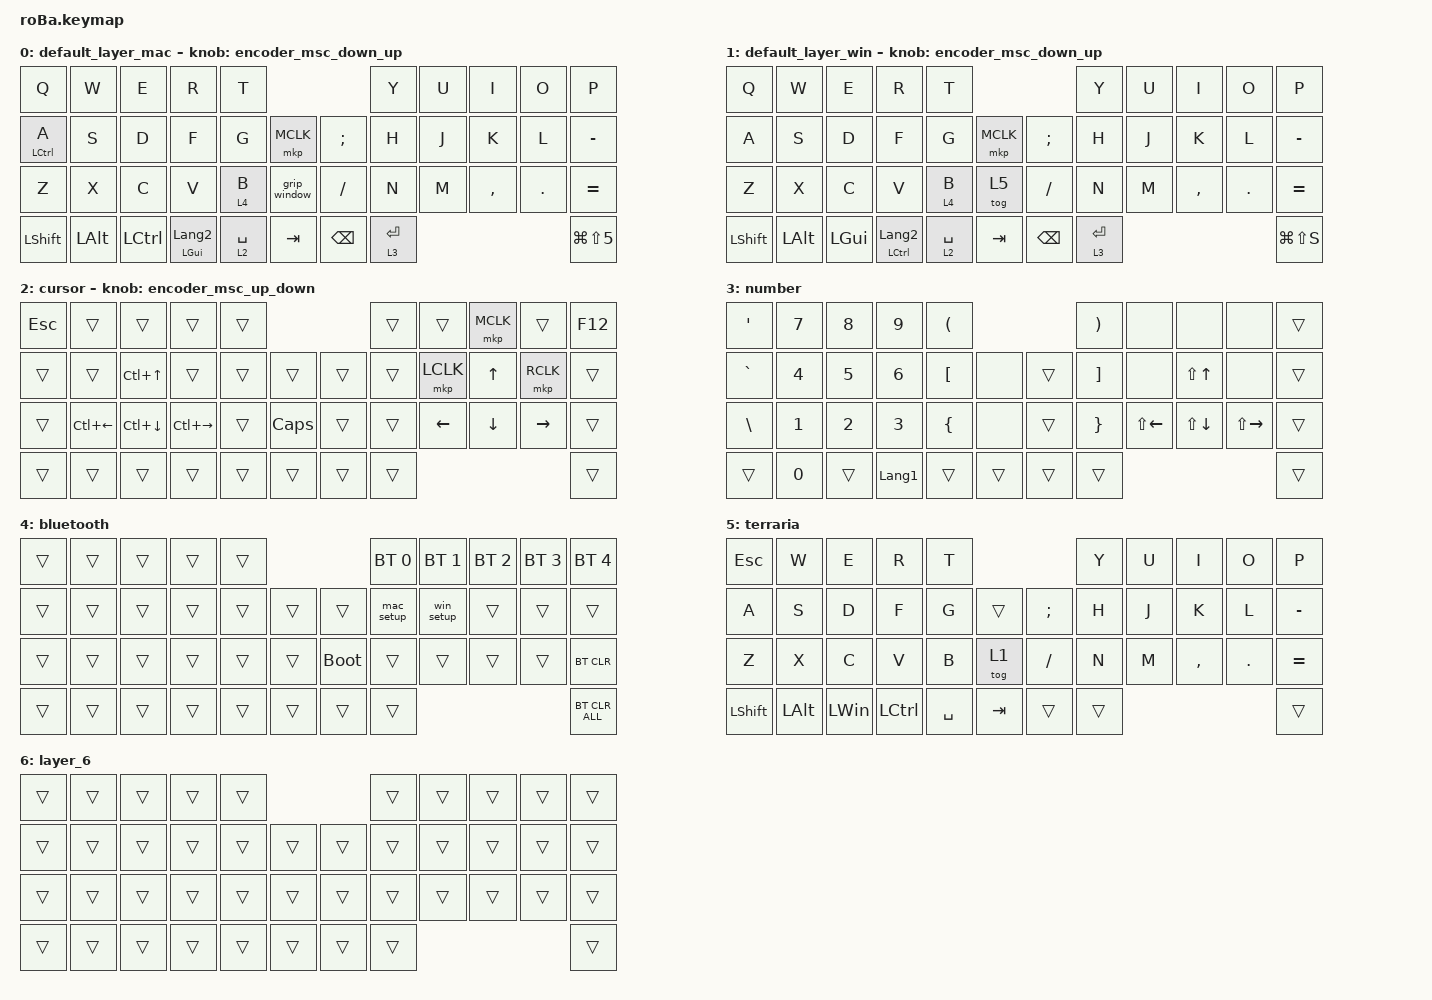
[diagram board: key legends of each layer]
#include <input/processors.dtsi>
#include <behaviors.dtsi>
#include <dt-bindings/zmk/bt.h>
#include <dt-bindings/zmk/keys.h>
#include <dt-bindings/zmk/pointing.h>

#define ZMK_POINTING_DEFAULT_SCRL_VAL 80

&mt {
    flavor = "balanced";
    quick-tap-ms = <0>;
};

&trackball {
    automouse-layer = <2>;
    scroll-layers = <5>;

    // arrows {
    //     layers = <3>;
    //     bindings =
    //         <&kp RIGHT_ARROW>,
    //         <&kp LEFT_ARROW>,
    //         <&kp UP_ARROW>,
    //         <&kp DOWN_ARROW>;
    //     tick = <10>;
    //     wait-ms = <5>;
    //     tap-ms = <5>;
    // };
};

&mkp_input_listener { input-processors = <&zip_temp_layer 2 250>; };

/ {
    combos {
        compatible = "zmk,combos";

        q_w_q {
            bindings = <&kp ESC>;
            key-positions = <0 1>;
        };

        globe {
            bindings = <&kp GLOBE>;
            key-positions = <16 28>;
        };
    };

    behaviors {
        encoder_msc_up_down: encoder_msc_up_down {
            compatible = "zmk,behavior-sensor-rotate";
            label = "ENCODER_MSC_UP_DOWN";
            #sensor-binding-cells = <0>;
            bindings = <&msc SCRL_UP>, <&msc SCRL_DOWN>;

            tap-ms = <20>;
        };

        encoder_msc_down_up: encoder_msc_down_up {
            compatible = "zmk,behavior-sensor-rotate";
            label = "ENCODER_MSC_DOWN_UP";
            #sensor-binding-cells = <0>;
            bindings = <&msc SCRL_DOWN>, <&msc SCRL_UP>;

            tap-ms = <20>;
        };
    };

    macros {
        mac_setup: osx_setup {
            compatible = "zmk,behavior-macro";
            #binding-cells = <0>;
            bindings = <&bt BT_SEL 0 &tog 0>;
            label = "OSX_SETUP";
        };

        win_setup: win_setup {
            compatible = "zmk,behavior-macro";
            #binding-cells = <0>;
            bindings = <&bt BT_SEL 1 &tog 1>;
            label = "WIN_SETUP";
        };

        grip_window: grip_window {
            compatible = "zmk,behavior-macro";
            #binding-cells = <0>;
            bindings =
                <&macro_press>,
                <&kp LG(LCTRL) &mkp LCLK>,
                <&macro_pause_for_release>,
                <&macro_release>,
                <&mkp LCLK &kp LG(LEFT_CONTROL)>;

            label = "GRIP_WINDOW";
        };
    };

    keymap {
        compatible = "zmk,keymap";

        default_layer_mac {
            bindings = <
&kp Q           &kp W         &kp E             &kp R                    &kp T                                         &kp Y        &kp U  &kp I      &kp O    &kp P
&mt LCTRL A     &kp S         &kp D             &kp F                    &kp G        &mkp MCLK         &kp SEMICOLON  &kp H        &kp J  &kp K      &kp L    &kp MINUS
&kp Z           &kp X         &kp C             &kp V                    &lt 4 B      &grip_window      &kp SLASH      &kp N        &kp M  &kp COMMA  &kp DOT  &kp EQUAL
&kp LEFT_SHIFT  &kp LEFT_ALT  &kp LEFT_CONTROL  &mt LEFT_GUI LANGUAGE_2  &lt 2 SPACE  &kp TAB           &kp BACKSPACE  &lt 3 ENTER                             &kp LG(LS(N5))
            >;

            sensor-bindings = <&encoder_msc_down_up>;
        };

        default_layer_win {
            bindings = <
&kp Q           &kp W         &kp E         &kp R                        &kp T                                      &kp Y        &kp U  &kp I      &kp O    &kp P
&kp A           &kp S         &kp D         &kp F                        &kp G        &mkp MCLK      &kp SEMICOLON  &kp H        &kp J  &kp K      &kp L    &kp MINUS
&kp Z           &kp X         &kp C         &kp V                        &lt 4 B      &tog 5         &kp SLASH      &kp N        &kp M  &kp COMMA  &kp DOT  &kp EQUAL
&kp LEFT_SHIFT  &kp LEFT_ALT  &kp LEFT_GUI  &mt LEFT_CONTROL LANGUAGE_2  &lt 2 SPACE  &kp TAB        &kp BACKSPACE  &lt 3 ENTER                             &kp LG(LS(S))
            >;

            sensor-bindings = <&encoder_msc_down_up>;
        };

        cursor {
            bindings = <
&kp ESCAPE  &trans              &trans            &trans               &trans                            &trans  &trans     &mkp MCLK       &trans     &kp F12
&trans      &trans              &kp LC(UP_ARROW)  &trans               &trans  &trans            &trans  &trans  &mkp LCLK  &kp UP_ARROW    &mkp RCLK  &trans
&trans      &kp LC(LEFT_ARROW)  &kp LC(DOWN)      &kp LC(RIGHT_ARROW)  &trans  &kp CAPSLOCK      &trans  &trans  &kp LEFT   &kp DOWN_ARROW  &kp RIGHT  &trans
&trans      &trans              &trans            &trans               &trans  &trans            &trans  &trans                                        &trans
            >;

            sensor-bindings = <&encoder_msc_up_down>;
        };

        number {
            bindings = <
&kp SQT        &kp N7        &kp N8        &kp N9          &kp LEFT_PARENTHESIS                      &kp RIGHT_PARENTHESIS  &none               &none               &none                &trans
&kp GRAVE      &kp NUMBER_4  &kp N5        &kp NUMBER_6    &kp LEFT_BRACKET      &none       &trans  &kp RIGHT_BRACKET      &none               &kp LS(UP_ARROW)    &none                &trans
&kp BACKSLASH  &kp NUMBER_1  &kp NUMBER_2  &kp NUMBER_3    &kp LEFT_BRACE        &none       &trans  &kp RIGHT_BRACE        &kp LS(LEFT_ARROW)  &kp LS(DOWN_ARROW)  &kp LS(RIGHT_ARROW)  &trans
&trans         &kp N0        &trans        &kp LANGUAGE_1  &trans                &trans      &trans  &trans                                                                              &trans
            >;
        };

        bluetooth {
            bindings = <
&trans  &trans  &trans  &trans  &trans                           &bt BT_SEL 0  &bt BT_SEL 1  &bt BT_SEL 2  &bt BT_SEL 3  &bt BT_SEL 4
&trans  &trans  &trans  &trans  &trans  &trans      &trans       &mac_setup    &win_setup    &trans        &trans        &trans
&trans  &trans  &trans  &trans  &trans  &trans      &bootloader  &trans        &trans        &trans        &trans        &bt BT_CLR
&trans  &trans  &trans  &trans  &trans  &trans      &trans       &trans                                                  &bt BT_CLR_ALL
            >;
        };

        terraria {
            bindings = <
&kp ESCAPE      &kp W         &kp E         &kp R      &kp T                             &kp Y   &kp U  &kp I      &kp O    &kp P
&kp A           &kp S         &kp D         &kp F      &kp G      &trans       &kp SEMI  &kp H   &kp J  &kp K      &kp L    &kp MINUS
&kp Z           &kp X         &kp C         &kp V      &kp B      &tog 1       &kp FSLH  &kp N   &kp M  &kp COMMA  &kp DOT  &kp EQUAL
&kp LEFT_SHIFT  &kp LEFT_ALT  &kp LEFT_WIN  &kp LCTRL  &kp SPACE  &kp TAB      &trans    &trans                             &trans
            >;
        };

        layer_6 {
            bindings = <
&trans  &trans  &trans  &trans  &trans                      &trans  &trans  &trans  &trans  &trans
&trans  &trans  &trans  &trans  &trans  &trans      &trans  &trans  &trans  &trans  &trans  &trans
&trans  &trans  &trans  &trans  &trans  &trans      &trans  &trans  &trans  &trans  &trans  &trans
&trans  &trans  &trans  &trans  &trans  &trans      &trans  &trans                          &trans
            >;
        };
    };
};
